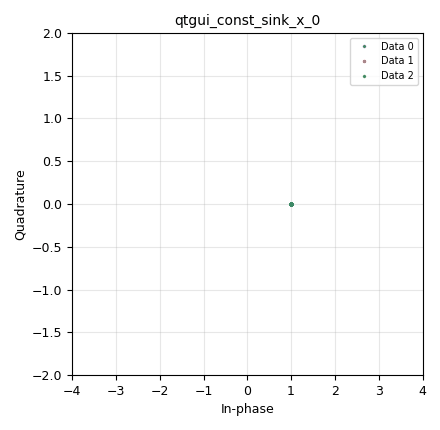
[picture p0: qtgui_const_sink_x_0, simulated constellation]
<?xml version='1.0' encoding='utf-8'?>
<?grc format='1' created='3.7.11'?>
<flow_graph>
<block>
<key>options</key>
<param><key>id</key><value>top_block</value></param>
<param><key>generate_options</key><value>qt_gui</value></param>
</block>
<block>
<key>variable_qtgui_range</key>
<param><key>id</key><value>amplitude_a</value></param>
<param><key>value</key><value>1.0</value></param>
<param><key>orient</key><value>Qt.Horizontal</value></param>
<param><key>start</key><value>0.0</value></param>
<param><key>step</key><value>0.1</value></param>
<param><key>stop</key><value>2.0</value></param>
</block>
<block>
<key>variable_qtgui_range</key>
<param><key>id</key><value>amplitude_b</value></param>
<param><key>value</key><value>1.0</value></param>
<param><key>orient</key><value>Qt.Horizontal</value></param>
<param><key>start</key><value>0.0</value></param>
<param><key>step</key><value>0.1</value></param>
<param><key>stop</key><value>2.0</value></param>
</block>
<block>
<key>variable_qtgui_range</key>
<param><key>id</key><value>freq_A</value></param>
<param><key>value</key><value>0.00001</value></param>
<param><key>orient</key><value>Qt.Horizontal</value></param>
<param><key>start</key><value>-.000100</value></param>
<param><key>step</key><value>.000001</value></param>
<param><key>stop</key><value>.000100</value></param>
</block>
<block>
<key>variable_qtgui_range</key>
<param><key>id</key><value>freq_B</value></param>
<param><key>value</key><value>0.000015</value></param>
<param><key>orient</key><value>Qt.Horizontal</value></param>
<param><key>start</key><value>-0.000100</value></param>
<param><key>step</key><value>.0000001</value></param>
<param><key>stop</key><value>0.000100</value></param>
</block>
<block>
<key>variable</key>
<param><key>id</key><value>samp_rate</value></param>
<param><key>value</key><value>32000</value></param>
</block>
<block>
<key>analog_sig_source_x</key>
<param><key>id</key><value>analog_sig_source_x_0</value></param>
<param><key>amp</key><value>amplitude_a</value></param>
<param><key>freq</key><value>freq_A</value></param>
<param><key>offset</key><value>0</value></param>
<param><key>type</key><value>complex</value></param>
<param><key>samp_rate</key><value>samp_rate</value></param>
<param><key>waveform</key><value>analog.GR_COS_WAVE</value></param>
</block>
<block>
<key>analog_sig_source_x</key>
<param><key>id</key><value>analog_sig_source_x_0_0</value></param>
<param><key>amp</key><value>amplitude_b</value></param>
<param><key>freq</key><value>freq_B</value></param>
<param><key>offset</key><value>0</value></param>
<param><key>type</key><value>complex</value></param>
<param><key>samp_rate</key><value>samp_rate</value></param>
<param><key>waveform</key><value>analog.GR_SIN_WAVE</value></param>
</block>
<block>
<key>blocks_add_xx</key>
<param><key>id</key><value>blocks_add_xx_0_0_0</value></param>
<param><key>type</key><value>float</value></param>
</block>
<block>
<key>blocks_complex_to_float</key>
<param><key>id</key><value>blocks_complex_to_float_0</value></param>
</block>
<block>
<key>blocks_complex_to_float</key>
<param><key>id</key><value>blocks_complex_to_float_1</value></param>
</block>
<block>
<key>blocks_float_to_complex</key>
<param><key>id</key><value>blocks_float_to_complex_0</value></param>
</block>
<block>
<key>blocks_multiply_xx</key>
<param><key>id</key><value>blocks_multiply_xx_0</value></param>
<param><key>_enabled</key><value>0</value></param>
<param><key>type</key><value>complex</value></param>
</block>
<block>
<key>blocks_multiply_xx</key>
<param><key>id</key><value>blocks_multiply_xx_1</value></param>
<param><key>type</key><value>float</value></param>
</block>
<block>
<key>blocks_multiply_xx</key>
<param><key>id</key><value>blocks_multiply_xx_1_0</value></param>
<param><key>type</key><value>float</value></param>
</block>
<block>
<key>blocks_multiply_xx</key>
<param><key>id</key><value>blocks_multiply_xx_1_0_0</value></param>
<param><key>type</key><value>float</value></param>
</block>
<block>
<key>blocks_multiply_xx</key>
<param><key>id</key><value>blocks_multiply_xx_1_0_1</value></param>
<param><key>type</key><value>float</value></param>
</block>
<block>
<key>blocks_sub_xx</key>
<param><key>id</key><value>blocks_sub_xx_0</value></param>
<param><key>type</key><value>float</value></param>
</block>
<block>
<key>qtgui_const_sink_x</key>
<param><key>id</key><value>qtgui_const_sink_x_0</value></param>
<param><key>grid</key><value>True</value></param>
<param><key>color2</key><value>"green"</value></param>
<param><key>color3</key><value>"black"</value></param>
<param><key>nconnections</key><value>3</value></param>
<param><key>size</key><value>1024</value></param>
<param><key>type</key><value>complex</value></param>
<param><key>xmax</key><value>4</value></param>
<param><key>xmin</key><value>-4</value></param>
</block>
<block>
<key>qtgui_time_sink_x</key>
<param><key>id</key><value>qtgui_time_sink_x_0</value></param>
<param><key>_enabled</key><value>0</value></param>
<param><key>color1</key><value>"blue"</value></param>
<param><key>label1</key><value></value></param>
<param><key>color2</key><value>"red"</value></param>
<param><key>label2</key><value></value></param>
<param><key>color3</key><value>"green"</value></param>
<param><key>label3</key><value></value></param>
<param><key>color4</key><value>"black"</value></param>
<param><key>label4</key><value></value></param>
<param><key>nconnections</key><value>2</value></param>
<param><key>size</key><value>32768</value></param>
<param><key>srate</key><value>samp_rate</value></param>
<param><key>type</key><value>complex</value></param>
</block>
<connection><source_block_id>analog_sig_source_x_0</source_block_id><sink_block_id>blocks_complex_to_float_0</sink_block_id><source_key>0</source_key><sink_key>0</sink_key></connection>
<connection><source_block_id>analog_sig_source_x_0</source_block_id><sink_block_id>blocks_multiply_xx_0</sink_block_id><source_key>0</source_key><sink_key>0</sink_key></connection>
<connection><source_block_id>analog_sig_source_x_0</source_block_id><sink_block_id>qtgui_const_sink_x_0</sink_block_id><source_key>0</source_key><sink_key>0</sink_key></connection>
<connection><source_block_id>analog_sig_source_x_0_0</source_block_id><sink_block_id>blocks_complex_to_float_1</sink_block_id><source_key>0</source_key><sink_key>0</sink_key></connection>
<connection><source_block_id>analog_sig_source_x_0_0</source_block_id><sink_block_id>blocks_multiply_xx_0</sink_block_id><source_key>0</source_key><sink_key>1</sink_key></connection>
<connection><source_block_id>analog_sig_source_x_0_0</source_block_id><sink_block_id>qtgui_const_sink_x_0</sink_block_id><source_key>0</source_key><sink_key>1</sink_key></connection>
<connection><source_block_id>analog_sig_source_x_0_0</source_block_id><sink_block_id>qtgui_time_sink_x_0</sink_block_id><source_key>0</source_key><sink_key>1</sink_key></connection>
<connection><source_block_id>blocks_add_xx_0_0_0</source_block_id><sink_block_id>blocks_float_to_complex_0</sink_block_id><source_key>0</source_key><sink_key>1</sink_key></connection>
<connection><source_block_id>blocks_complex_to_float_0</source_block_id><sink_block_id>blocks_multiply_xx_1_0</sink_block_id><source_key>1</source_key><sink_key>0</sink_key></connection>
<connection><source_block_id>blocks_complex_to_float_0</source_block_id><sink_block_id>blocks_multiply_xx_1_0_1</sink_block_id><source_key>1</source_key><sink_key>1</sink_key></connection>
<connection><source_block_id>blocks_complex_to_float_0</source_block_id><sink_block_id>blocks_multiply_xx_1</sink_block_id><source_key>0</source_key><sink_key>0</sink_key></connection>
<connection><source_block_id>blocks_complex_to_float_0</source_block_id><sink_block_id>blocks_multiply_xx_1_0_0</sink_block_id><source_key>0</source_key><sink_key>0</sink_key></connection>
<connection><source_block_id>blocks_complex_to_float_1</source_block_id><sink_block_id>blocks_multiply_xx_1_0</sink_block_id><source_key>1</source_key><sink_key>1</sink_key></connection>
<connection><source_block_id>blocks_complex_to_float_1</source_block_id><sink_block_id>blocks_multiply_xx_1_0_0</sink_block_id><source_key>1</source_key><sink_key>1</sink_key></connection>
<connection><source_block_id>blocks_complex_to_float_1</source_block_id><sink_block_id>blocks_multiply_xx_1</sink_block_id><source_key>0</source_key><sink_key>1</sink_key></connection>
<connection><source_block_id>blocks_complex_to_float_1</source_block_id><sink_block_id>blocks_multiply_xx_1_0_1</sink_block_id><source_key>0</source_key><sink_key>0</sink_key></connection>
<connection><source_block_id>blocks_float_to_complex_0</source_block_id><sink_block_id>qtgui_const_sink_x_0</sink_block_id><source_key>0</source_key><sink_key>2</sink_key></connection>
<connection><source_block_id>blocks_multiply_xx_0</source_block_id><sink_block_id>qtgui_const_sink_x_0</sink_block_id><source_key>0</source_key><sink_key>2</sink_key></connection>
<connection><source_block_id>blocks_multiply_xx_1</source_block_id><sink_block_id>blocks_sub_xx_0</sink_block_id><source_key>0</source_key><sink_key>0</sink_key></connection>
<connection><source_block_id>blocks_multiply_xx_1_0</source_block_id><sink_block_id>blocks_sub_xx_0</sink_block_id><source_key>0</source_key><sink_key>1</sink_key></connection>
<connection><source_block_id>blocks_multiply_xx_1_0_0</source_block_id><sink_block_id>blocks_add_xx_0_0_0</sink_block_id><source_key>0</source_key><sink_key>0</sink_key></connection>
<connection><source_block_id>blocks_multiply_xx_1_0_1</source_block_id><sink_block_id>blocks_add_xx_0_0_0</sink_block_id><source_key>0</source_key><sink_key>1</sink_key></connection>
<connection><source_block_id>blocks_sub_xx_0</source_block_id><sink_block_id>blocks_float_to_complex_0</sink_block_id><source_key>0</source_key><sink_key>0</sink_key></connection>
</flow_graph>
